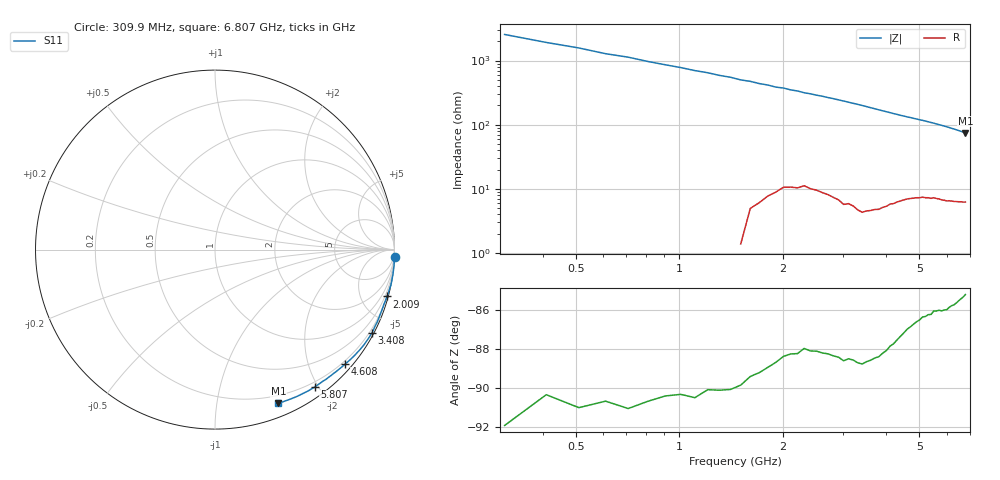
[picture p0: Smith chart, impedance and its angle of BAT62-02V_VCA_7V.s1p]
! Infineon Technologies  Discrete & RF Semiconductors
! BAT62-02V
! VCA = 7 V
! One-Port S-Parameters
# Hz  S  MA  R  50
!f  S11
!Hz  Mag  Ang
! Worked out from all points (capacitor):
!   66 points, 309.9 MHz to 6.807 GHz, reference 50 ohm
!   read as one part to ground: C = 201 fF near 309.9 MHz
!   lowest |Z| = 74.7 ohm at 6.807 GHz (marker M1)
!   S11 on the Smith chart (normalised r, x): 309.9 MHz: -2, -51; 2.009 GHz: 0.21, -7.47; 3.408 GHz: 0.09, -3.99; 4.608 GHz: 0.14, -2.64; 5.807 GHz: 0.13, -1.95; 6.807 GHz: 0.12, -1.49
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3.0985e8  1.001 -2.2
7.0965e8  1.002 -5.1
1.10945e9  1.001 -8.2
1.2094e9  1 -8.8
1.30935e9  1 -9.7
1.4093e9  1 -10.4
1.50925e9  0.9994 -11.4
1.6092e9  0.9978 -12.0
1.70915e9  0.9969 -13.0
1.8091e9  0.9956 -13.7
1.90905e9  0.9941 -14.8
2.009e9  0.9926 -15.2
2.10895e9  0.9915 -16.3
2.2089e9  0.991 -16.9
2.30885e9  0.9891 -18.0
2.6087e9  0.9891 -20.4
2.8086e9  0.9892 -22.2
3.0085e9  0.9901 -24.1
3.4083e9  0.9899 -28.1
3.6082e9  0.9875 -30.4
4.008e9  0.981 -34.8
4.4078e9  0.9711 -39.3
4.6077e9  0.9658 -41.3
5.2074e9  0.954 -47.3
5.8071e9  0.9456 -54.1
6.007e9  0.9432 -56.6
6.4068e9  0.9352 -61.8
6.8066e9  0.9256 -67.6
